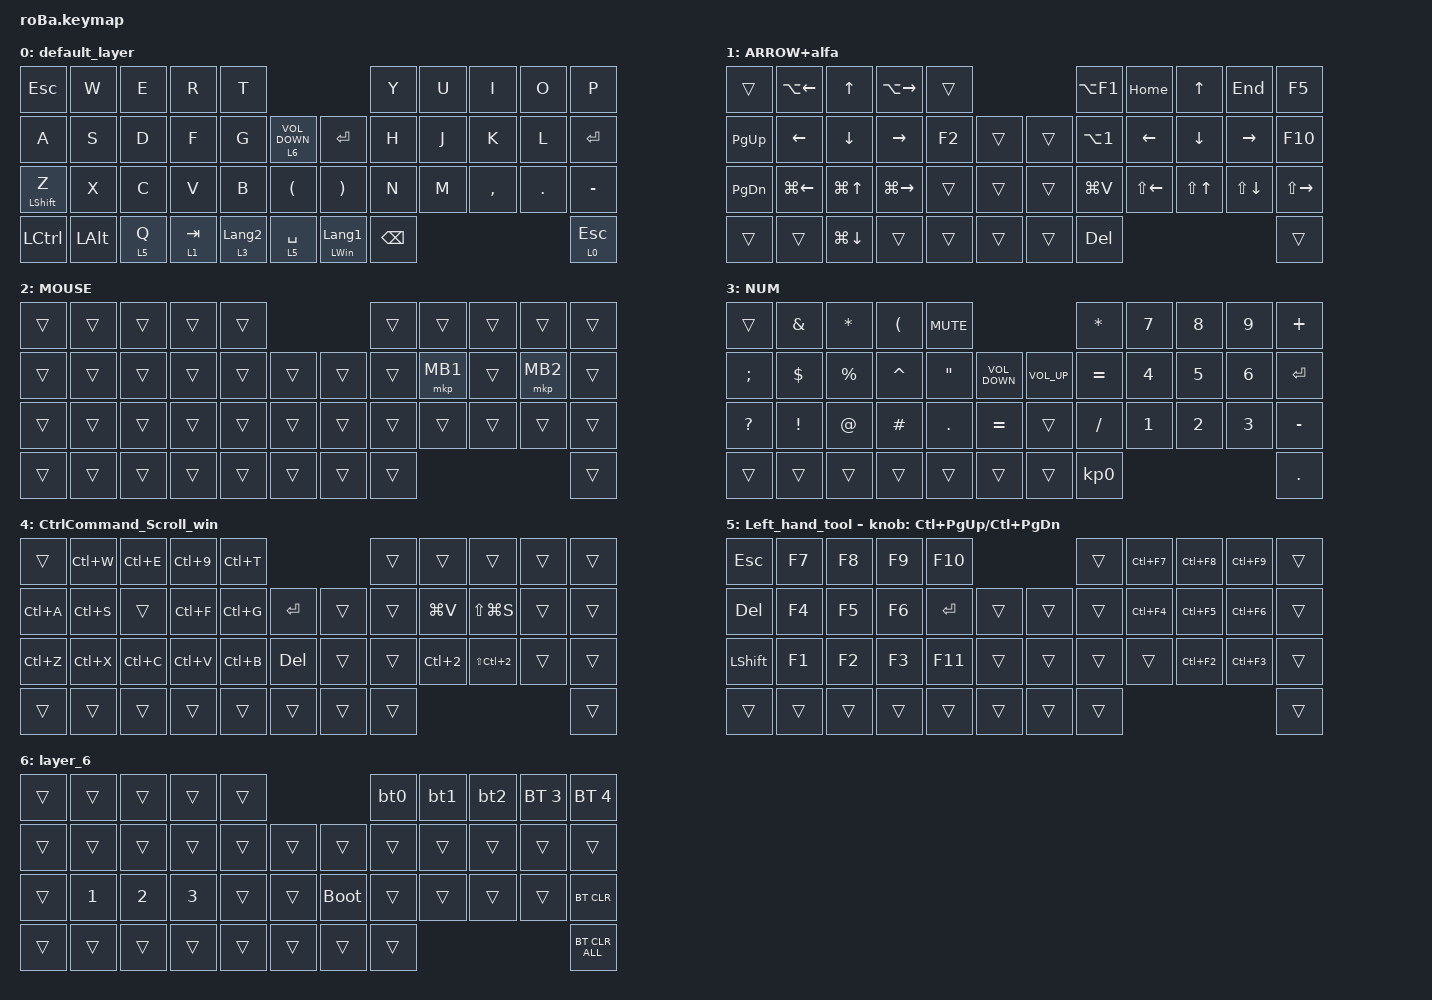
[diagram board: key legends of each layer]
#include <behaviors.dtsi>
#include <dt-bindings/zmk/bt.h>
#include <dt-bindings/zmk/keys.h>
#include <dt-bindings/zmk/pointing.h>

&mt {
    flavor = "balanced";
    quick-tap-ms = <0>;
};

&trackball {
    automouse-layer = <4>;
    scroll-layers = <5>;

    // arrows {
    //     layers = <3>;
    //     bindings =
    //         <&kp RIGHT_ARROW>,
    //         <&kp LEFT_ARROW>,
    //         <&kp UP_ARROW>,
    //         <&kp DOWN_ARROW>;

    //     tick = <10>;
    //     wait-ms = <5>;
    //     tap-ms = <5>;
    // };
};

/ {
    combos { compatible = "zmk,combos"; };

    macros {
        to_layer_0: to_layer_0 {
            compatible = "zmk,behavior-macro-one-param";
            #binding-cells = <1>;
            bindings = <&to 0 &macro_param_1to1 &kp MACRO_PLACEHOLDER>;
            label = "TO_LAYER_0";
        };

        bt0: bt0 {
            compatible = "zmk,behavior-macro";
            #binding-cells = <0>;
            bindings =
                <&tog_off 0 &tog_off 0>,
                <&macro_wait_time 200>,
                <&bt BT_SEL 0>,
                <&macro_wait_time 500>;

            label = "BT0";
        };

        bt1: bt1 {
            compatible = "zmk,behavior-macro";
            #binding-cells = <0>;
            bindings =
                <&tog_off 0 &tog_off 0>,
                <&macro_wait_time 200>,
                <&bt BT_SEL 1>,
                <&macro_wait_time 500>,
                <&tog_on 0>;

            label = "BT1";
        };

        bt2: bt2 {
            compatible = "zmk,behavior-macro";
            #binding-cells = <0>;
            bindings =
                <&tog_off 0 &tog_off 0>,
                <&macro_wait_time 200>,
                <&bt BT_SEL 2>,
                <&macro_wait_time 500>,
                <&tog_on 0>;

            label = "BT2";
        };
    };

    behaviors {
        lt_to_layer_0: lt_to_layer_0 {
            compatible = "zmk,behavior-hold-tap";
            label = "LAYER_TAP_TO_0";
            bindings = <&mo>, <&to_layer_0>;

            #binding-cells = <2>;
            tapping-term-ms = <200>;
        };

        scroll_up_down: behavior_sensor_rotate_mouse_wheel_up_down {
            compatible = "zmk,behavior-sensor-rotate";
            #sensor-binding-cells = <0>;
            bindings = <&msc SCRL_UP>, <&msc SCRL_DOWN>;

            tap-ms = <20>;
        };

        tog_on: toggle_layer_on_only {
            compatible = "zmk,behavior-toggle-layer";
            #binding-cells = <1>;
            display-name = "Toggle Layer On";
            toggle-mode = "on";
        };

        tog_off: toggle_layer_off_only {
            compatible = "zmk,behavior-toggle-layer";
            #binding-cells = <1>;
            display-name = "Toggle Layer Off";
            toggle-mode = "off";
        };
    };

    keymap {
        compatible = "zmk,keymap";

        default_layer {
            bindings = <
&kp ESC           &kp W         &kp E               &kp R      &kp T                                                                &kp Y          &kp U  &kp I      &kp O       &kp P
&kp A             &kp S         &kp D               &kp F      &kp G             &lt 6 C_VOLUME_DOWN       &kp ENTER                &kp H          &kp J  &kp K      &kp L       &kp ENTER
&mt LSHIFT Z      &kp X         &kp C               &kp V      &kp B             &kp LEFT_PARENTHESIS      &kp RIGHT_PARENTHESIS    &kp N          &kp M  &kp COMMA  &kp PERIOD  &kp MINUS
&kp LEFT_CONTROL  &kp LEFT_ALT  &lt_to_layer_0 5 Q  &lt 1 TAB  &lt 3 LANGUAGE_2  &lt 5 SPACE               &mt LEFT_WIN LANGUAGE_1  &kp BACKSPACE                                &lt 0 ESCAPE
            >;
        };

        ARROW+alfa {
            bindings = <
&trans         &kp LA(LEFT_ARROW)  &kp UP_ARROW        &kp LA(RIGHT_ARROW)  &trans                      &kp LA(F1)        &kp HOME            &kp UP_ARROW      &kp END             &kp F5
&kp PAGE_UP    &kp LEFT_ARROW      &kp DOWN_ARROW      &kp RIGHT_ARROW      &kp F2  &trans      &trans  &kp LA(NUMBER_1)  &kp LEFT_ARROW      &kp DOWN_ARROW    &kp RIGHT_ARROW     &kp F10
&kp PAGE_DOWN  &kp LG(LEFT_ARROW)  &kp LG(UP_ARROW)    &kp LG(RIGHT_ARROW)  &trans  &trans      &trans  &kp LG(V)         &kp LS(LEFT_ARROW)  &kp LS(UP_ARROW)  &kp LS(DOWN_ARROW)  &kp LS(RIGHT_ARROW)
&trans         &trans              &kp LG(DOWN_ARROW)  &trans               &trans  &trans      &trans  &kp DELETE                                                                  &trans
            >;
        };

        MOUSE {
            bindings = <
&trans  &trans  &trans  &trans  &trans                      &trans  &trans    &trans  &trans    &trans
&trans  &trans  &trans  &trans  &trans  &trans      &trans  &trans  &mkp MB1  &trans  &mkp MB2  &trans
&trans  &trans  &trans  &trans  &trans  &trans      &trans  &trans  &trans    &trans  &trans    &trans
&trans  &trans  &trans  &trans  &trans  &trans      &trans  &trans                              &trans
            >;
        };

        NUM {
            bindings = <
&trans         &kp AMPERSAND    &kp ASTERISK  &kp LEFT_PARENTHESIS  &kp K_MUTE                                                 &kp ASTERISK     &kp N7        &kp N8        &kp N9        &kp PLUS
&kp SEMICOLON  &kp DOLLAR       &kp PERCENT   &kp CARET             &kp DOUBLE_QUOTES  &kp C_VOLUME_DOWN      &kp C_VOLUME_UP  &kp EQUAL        &kp NUMBER_4  &kp N5        &kp NUMBER_6  &kp ENTER
&kp QUESTION   &kp EXCLAMATION  &kp AT        &kp HASH              &kp PERIOD         &kp EQUAL              &trans           &kp SLASH        &kp NUMBER_1  &kp NUMBER_2  &kp NUMBER_3  &kp MINUS
&trans         &trans           &trans        &trans                &trans             &trans                 &trans           &kp KP_NUMBER_0                                            &kp PERIOD
            >;
        };

        CtrlCommand_Scroll_win {
            bindings = <
&trans     &kp LC(W)  &kp LC(E)  &kp LC(N9)  &kp LC(T)                         &trans  &trans            &trans                &trans  &trans
&kp LC(A)  &kp LC(S)  &trans     &kp LC(F)   &kp LC(G)  &kp ENTER      &trans  &trans  &kp LG(V)         &kp LS(LG(S))         &trans  &trans
&kp LC(Z)  &kp LC(X)  &kp LC(C)  &kp LC(V)   &kp LC(B)  &kp DEL        &trans  &trans  &kp LC(NUMBER_2)  &kp LS(LC(NUMBER_2))  &trans  &trans
&trans     &trans     &trans     &trans      &trans     &trans         &trans  &trans                                                  &trans
            >;
        };

        Left_hand_tool {
            bindings = <
&kp ESCAPE      &kp F7  &kp F8  &kp F9  &kp F10                        &trans  &kp LC(F7)  &kp LC(F8)  &kp LC(F9)  &trans
&kp DELETE      &kp F4  &kp F5  &kp F6  &kp ENTER  &trans      &trans  &trans  &kp LC(F4)  &kp LC(F5)  &kp LC(F6)  &trans
&kp LEFT_SHIFT  &kp F1  &kp F2  &kp F3  &kp F11    &trans      &trans  &trans  &trans      &kp LC(F2)  &kp LC(F3)  &trans
&trans          &trans  &trans  &trans  &trans     &trans      &trans  &trans                                      &trans
            >;

            sensor-bindings = <&inc_dec_kp LC(PAGE_UP) LC(PAGE_DOWN)>;
        };

        layer_6 {
            bindings = <
&trans  &trans        &trans        &trans        &trans                           &bt0    &bt1    &bt2    &bt BT_SEL 3  &bt BT_SEL 4
&trans  &trans        &trans        &trans        &trans  &trans      &trans       &trans  &trans  &trans  &trans        &trans
&trans  &kp NUMBER_1  &kp NUMBER_2  &kp NUMBER_3  &trans  &trans      &bootloader  &trans  &trans  &trans  &trans        &bt BT_CLR
&trans  &trans        &trans        &trans        &trans  &trans      &trans       &trans                                &bt BT_CLR_ALL
            >;
        };
    };
};
